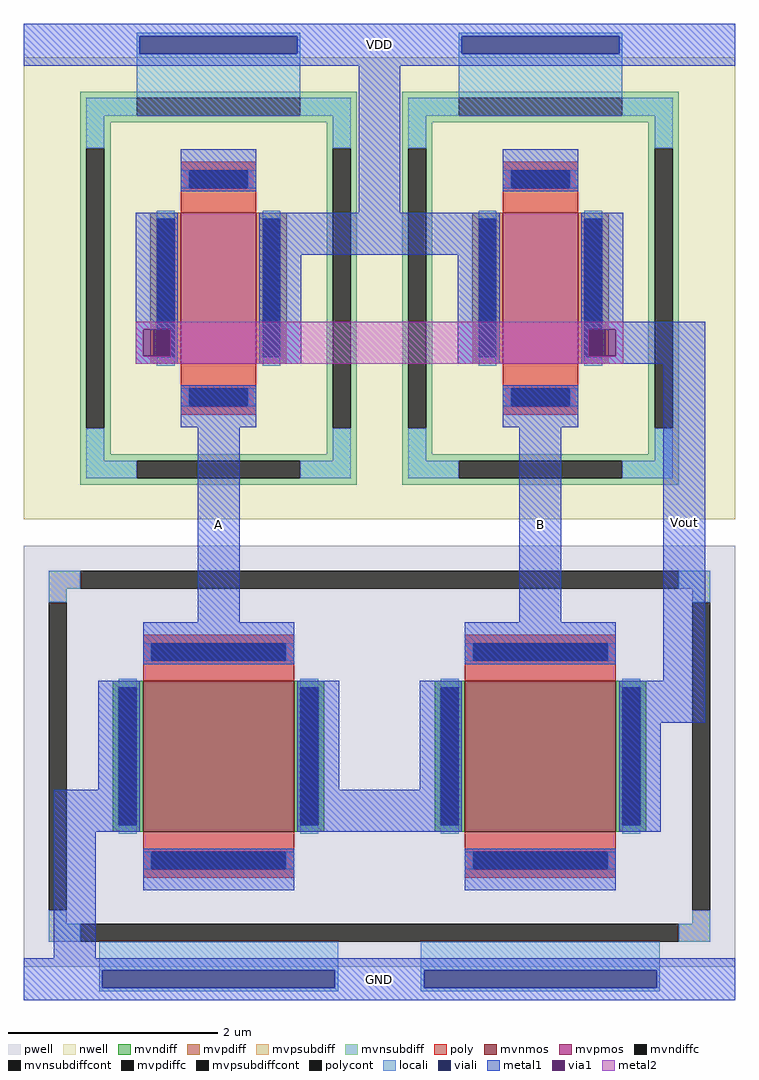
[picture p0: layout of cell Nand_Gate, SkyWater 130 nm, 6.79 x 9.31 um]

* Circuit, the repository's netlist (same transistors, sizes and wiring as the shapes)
** sch_path: /foss/designs/layout/Nand_Gate.sch
.subckt Nand_Gate B A Vout VDD GND
*.PININFO A:I B:I VDD:I GND:I Vout:O
XM1 Vout B VDD VDD sky130_fd_pr__pfet_g5v0d10v5 L=0.720 W=1.44 nf=1 m=1
XM2 Vout A VDD VDD sky130_fd_pr__pfet_g5v0d10v5 L=0.720 W=1.44 nf=1 m=1
XM3 Vout B net1 GND sky130_fd_pr__nfet_g5v0d10v5 L=1.44 W=1.44 nf=1 m=1
XM4 net1 A GND GND sky130_fd_pr__nfet_g5v0d10v5 L=1.44 W=1.44 nf=1 m=1
.ends
.end

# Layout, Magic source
magic
tech sky130A
magscale 1 2
<< nwell >>
rect 1906 370 1948 1252
rect 3222 370 3264 1252
<< mvpsubdiff >>
rect 1954 238 2014 272
rect 3156 238 3216 272
rect 1954 212 1988 238
rect 1954 -402 1988 -376
rect 3182 212 3216 238
rect 3182 -402 3216 -376
rect 1954 -436 2014 -402
rect 3156 -436 3216 -402
<< mvpsubdiffcont >>
rect 2014 238 3156 272
rect 1954 -376 1988 212
rect 3182 -376 3216 212
rect 2014 -436 3156 -402
<< locali >>
rect 2122 1292 2434 1298
rect 2122 1258 2128 1292
rect 2428 1258 2434 1292
rect 2122 1140 2434 1258
rect 2736 1292 3048 1298
rect 2736 1258 2742 1292
rect 3042 1258 3048 1292
rect 2736 1140 3048 1258
rect 1954 238 2014 272
rect 3156 238 3216 272
rect 1954 212 1988 238
rect 1954 -402 1988 -376
rect 3182 212 3216 238
rect 3182 -402 3216 -376
rect 1954 -436 2014 -402
rect 3156 -436 3216 -402
rect 2050 -490 2506 -436
rect 2050 -524 2056 -490
rect 2500 -524 2506 -490
rect 2050 -530 2506 -524
rect 2664 -490 3120 -436
rect 2664 -524 2670 -490
rect 3114 -524 3120 -490
rect 2664 -530 3120 -524
<< viali >>
rect 2128 1258 2428 1292
rect 2742 1258 3042 1292
rect 2056 -524 2500 -490
rect 2670 -524 3114 -490
<< metal1 >>
rect 1906 1292 3264 1315
rect 1906 1258 2128 1292
rect 2428 1258 2742 1292
rect 3042 1258 3264 1292
rect 1906 1235 3264 1258
rect 2206 996 2350 1076
rect 2545 955 2625 1235
rect 2820 996 2964 1076
rect 2120 733 2200 955
rect 2120 681 2134 733
rect 2186 681 2200 733
rect 2120 667 2200 681
rect 2356 875 2814 955
rect 2356 667 2436 875
rect 2734 667 2814 875
rect 2970 747 3050 955
rect 2970 733 3206 747
rect 2970 681 2984 733
rect 3036 681 3206 733
rect 2970 667 3206 681
rect 2206 546 2350 626
rect 2820 546 2964 626
rect 2238 174 2318 546
rect 2852 174 2932 546
rect 2134 94 2422 174
rect 2748 94 3036 174
rect 3126 62 3206 667
rect 2048 -146 2128 62
rect 1964 -226 2128 -146
rect 2428 -146 2508 62
rect 2662 -146 2742 62
rect 2428 -226 2742 -146
rect 3042 -18 3206 62
rect 3042 -226 3122 -18
rect 1964 -467 2044 -226
rect 2134 -338 2422 -258
rect 2748 -338 3036 -258
rect 1906 -490 3264 -467
rect 1906 -524 2056 -490
rect 2500 -524 2670 -490
rect 3114 -524 3264 -490
rect 1906 -547 3264 -524
<< via1 >>
rect 2134 681 2186 733
rect 2984 681 3036 733
<< metal2 >>
rect 2120 733 3050 747
rect 2120 681 2134 733
rect 2186 681 2984 733
rect 3036 681 3050 733
rect 2120 667 3050 681
use sky130_fd_pr__pfet_g5v0d10v5_CY7YBN  XM1
transform 1 0 2892 0 1 811
box -330 -441 330 441
use sky130_fd_pr__pfet_g5v0d10v5_CY7YBN  XM2
transform 1 0 2278 0 1 811
box -330 -441 330 441
use sky130_fd_pr__nfet_g5v0d10v5_3Y2F6P  XM3
transform 1 0 2892 0 1 -82
box -372 -402 372 402
use sky130_fd_pr__nfet_g5v0d10v5_3Y2F6P  XM4
transform 1 0 2278 0 1 -82
box -372 -402 372 402
<< labels >>
flabel metal1 1906 -530 3264 -484 0 FreeSans 160 0 0 0 GND
port 0 nsew
flabel metal1 1906 1252 3264 1298 0 FreeSans 160 0 0 0 VDD
port 1 nsew
flabel metal1 3126 -18 3206 747 0 FreeSans 160 0 0 0 Vout
port 4 nsew
flabel metal1 2852 94 2932 626 0 FreeSans 160 0 0 0 B
port 6 nsew
flabel metal1 2238 94 2318 626 0 FreeSans 160 0 0 0 A
port 2 nsew
<< end >>

# cell sky130_fd_pr__pfet_g5v0d10v5_CY7YBN: kit device sky130_fd_pr__pfet_g5v0d10v5, w 1.44 l 0.72 m 1 nf 1 diffcov 100 polycov 100 guard 1 glc 1 grc 1 gtc 1 gbc 1 tbcov 100 rlcov 100 topc 1 botc 1 poverlap 0 doverlap 1 lmin 0.50 wmin 0.42 class mosfet compatible {sky130_fd_pr__pfet_01v8 sky130_fd_pr__pfet_01v8_lvt sky130_fd_pr__pfet_01v8_hvt sky130_fd_pr__pfet_g5v0d10v5} full_metal 1 viasrc 100 viadrn 100 viagate 100 viagb 0 viagr 0 viagl 0 viagt 0

# cell sky130_fd_pr__nfet_g5v0d10v5_3Y2F6P: kit device sky130_fd_pr__nfet_g5v0d10v5, w 1.44 l 1.44 m 1 nf 1 diffcov 100 polycov 100 guard 1 glc 1 grc 1 gtc 1 gbc 1 tbcov 100 rlcov 100 topc 1 botc 1 poverlap 0 doverlap 1 lmin 0.50 wmin 0.42 class mosfet compatible {sky130_fd_pr__nfet_01v8 sky130_fd_pr__nfet_01v8_lvt sky130_fd_bs_flash__special_sonosfet_star sky130_fd_pr__nfet_g5v0d10v5 sky130_fd_pr__nfet_05v0_nvt sky130_fd_pr__nfet_03v3_nvt} full_metal 1 viasrc 100 viadrn 100 viagate 100 viagb 0 viagr 0 viagl 0 viagt 0
